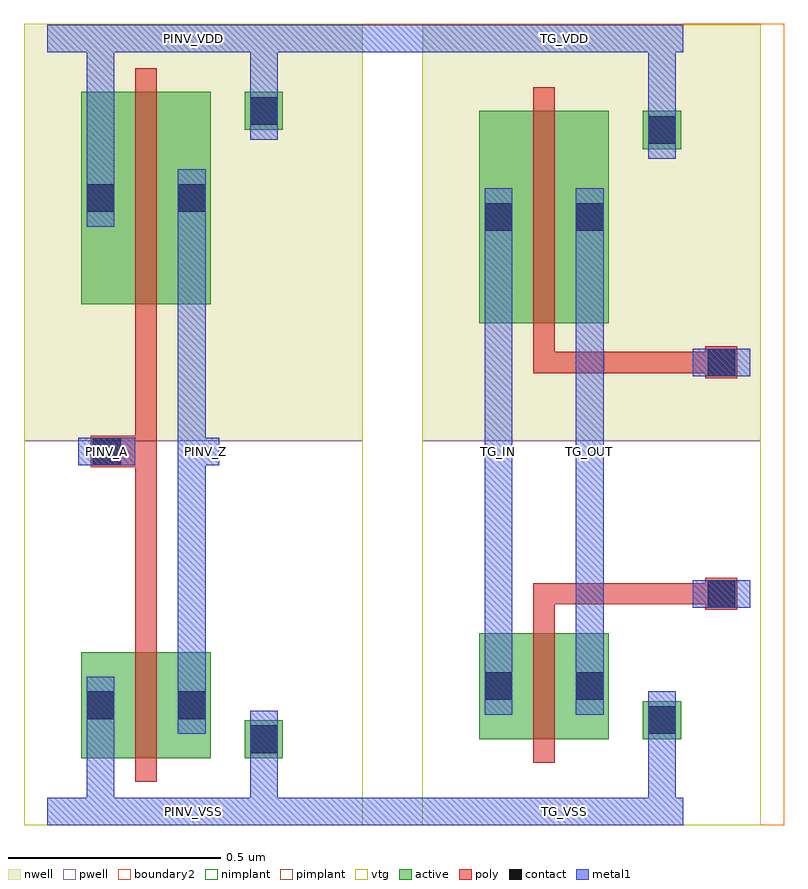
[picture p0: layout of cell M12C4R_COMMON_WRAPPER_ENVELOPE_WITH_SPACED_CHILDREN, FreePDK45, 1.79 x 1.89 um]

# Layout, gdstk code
import gdstk
lib = gdstk.Library(unit=1e-6, precision=5e-10)
def R(c, l, rs):  # rectangles x0, y0, x1, y1
    for r in rs: c.add(gdstk.rectangle(r[:2], r[2:], *l))
active = (1, 0)
pwell = (2, 0)
nwell = (3, 0)
nimplant = (4, 0)
pimplant = (5, 0)
vtg = (6, 0)
poly = (9, 0)
contact = (10, 0)
metal1 = (11, 0)
boundary2 = (239, 0)

transmission_gate_nw250_ = lib.new_cell('TRANSMISSION_GATE_NW250_PW500_L50_contact_8')
R(transmission_gate_nw250_, active, [(0,0.0225,0.09,0.1125)])
R(transmission_gate_nw250_, nwell, [(-0.055,-0.0325,0.145,0.1675)])
R(transmission_gate_nw250_, pimplant, [(0,0.0225,0.09,0.1125)])
R(transmission_gate_nw250_, contact, [(0.0125,0.035,0.0775,0.1)])
R(transmission_gate_nw250_, metal1, [(0.0125,0,0.0775,0.135)])
R(transmission_gate_nw250_, boundary2, [(-0.055,-0.0325,0.145,0.1675)])

pinv_nw250_pw500_l50_pmo = lib.new_cell('PINV_NW250_PW500_L50_pmos_m1_w0_500_sm1_dm1_da_p')
R(pinv_nw250_pw500_l50_pmo, active, [(0,0,0.305,0.5)])
R(pinv_nw250_pw500_l50_pmo, nwell, [(-0.08,-0.08,0.385,0.58)])
R(pinv_nw250_pw500_l50_pmo, pimplant, [(0,0,0.305,0.5)])
R(pinv_nw250_pw500_l50_pmo, vtg, [(-0.08,-0.08,0.385,0.58)])
R(pinv_nw250_pw500_l50_pmo, poly, [(0.1275,-0.055,0.1775,0.555), (0.1275,-0.055,0.1775,0.555)])
R(pinv_nw250_pw500_l50_pmo, metal1, [(0.0125,0.1825,0.0775,0.3175), (0.2275,0.1825,0.2925,0.3175)])
R(pinv_nw250_pw500_l50_pmo, boundary2, [(-0.08,-0.08,0.385,0.58)])
pinv_nw250_pw500_l50_pmo.add(gdstk.Reference(transmission_gate_nw250_, (0,0.1825)))
pinv_nw250_pw500_l50_pmo.add(gdstk.Reference(transmission_gate_nw250_, (0.215,0.1825)))

c_transmission_gate_nw250_ = lib.new_cell('TRANSMISSION_GATE_NW250_PW500_L50_contact_7')
R(c_transmission_gate_nw250_, active, [(0,0.0225,0.09,0.1125)])
R(c_transmission_gate_nw250_, pwell, [(-0.055,-0.0325,0.145,0.1675)])
R(c_transmission_gate_nw250_, nimplant, [(0,0.0225,0.09,0.1125)])
R(c_transmission_gate_nw250_, contact, [(0.0125,0.035,0.0775,0.1)])
R(c_transmission_gate_nw250_, metal1, [(0.0125,0,0.0775,0.135)])
R(c_transmission_gate_nw250_, boundary2, [(-0.055,-0.0325,0.145,0.1675)])

pinv_nw250_pw500_l50_nmo = lib.new_cell('PINV_NW250_PW500_L50_nmos_m1_w0_250_sm1_dm1_da_p')
R(pinv_nw250_pw500_l50_nmo, active, [(0,0,0.305,0.25)])
R(pinv_nw250_pw500_l50_nmo, pwell, [(-0.08,-0.08,0.385,0.33)])
R(pinv_nw250_pw500_l50_nmo, nimplant, [(0,0,0.305,0.25)])
R(pinv_nw250_pw500_l50_nmo, vtg, [(-0.08,-0.08,0.385,0.33)])
R(pinv_nw250_pw500_l50_nmo, poly, [(0.1275,-0.055,0.1775,0.305), (0.1275,-0.055,0.1775,0.305)])
R(pinv_nw250_pw500_l50_nmo, metal1, [(0.0125,0.0575,0.0775,0.1925), (0.2275,0.0575,0.2925,0.1925)])
R(pinv_nw250_pw500_l50_nmo, boundary2, [(-0.08,-0.08,0.385,0.33)])
pinv_nw250_pw500_l50_nmo.add(gdstk.Reference(c_transmission_gate_nw250_, (0,0.0575)))
pinv_nw250_pw500_l50_nmo.add(gdstk.Reference(c_transmission_gate_nw250_, (0.215,0.0575)))

c_transmission_gate_nw250__ = lib.new_cell('TRANSMISSION_GATE_NW250_PW500_L50_contact_9')
R(c_transmission_gate_nw250__, active, [(0,0.0225,0.09,0.1125)])
R(c_transmission_gate_nw250__, nwell, [(-0.055,-0.0325,0.145,0.1675)])
R(c_transmission_gate_nw250__, nimplant, [(0,0.0225,0.09,0.1125)])
R(c_transmission_gate_nw250__, contact, [(0.0125,0.035,0.0775,0.1)])
R(c_transmission_gate_nw250__, metal1, [(0.0125,0,0.0775,0.135)])
R(c_transmission_gate_nw250__, boundary2, [(-0.055,-0.0325,0.145,0.1675)])

c_transmission_gate_nw250___ = lib.new_cell('TRANSMISSION_GATE_NW250_PW500_L50_contact_10')
R(c_transmission_gate_nw250___, active, [(0,0.0225,0.09,0.1125)])
R(c_transmission_gate_nw250___, pwell, [(-0.055,-0.0325,0.145,0.1675)])
R(c_transmission_gate_nw250___, pimplant, [(0,0.0225,0.09,0.1125)])
R(c_transmission_gate_nw250___, contact, [(0.0125,0.035,0.0775,0.1)])
R(c_transmission_gate_nw250___, metal1, [(0.0125,0,0.0775,0.135)])
R(c_transmission_gate_nw250___, boundary2, [(-0.055,-0.0325,0.145,0.1675)])

pinv_nw180_pw270_l50_con = lib.new_cell('PINV_NW180_PW270_L50_contact_11')
R(pinv_nw180_pw270_l50_con, poly, [(0.03,0,0.105,0.075)])
R(pinv_nw180_pw270_l50_con, contact, [(0.035,0.005,0.1,0.07)])
R(pinv_nw180_pw270_l50_con, metal1, [(0,0.005,0.135,0.07)])
R(pinv_nw180_pw270_l50_con, boundary2, [(0,0,0.135,0.075)])

pinv_nw250_pw500_l50_cor = lib.new_cell('PINV_NW250_PW500_L50_core')
R(pinv_nw250_pw500_l50_cor, pwell, [(-0.055,-0.0325,0.7425,0.8725)])
R(pinv_nw250_pw500_l50_cor, nwell, [(-0.055,0.8725,0.7425,1.855)])
R(pinv_nw250_pw500_l50_cor, vtg, [(-0.055,-0.0325,0.7425,0.8725), (-0.055,0.8725,0.7425,1.855)])
R(pinv_nw250_pw500_l50_cor, poly, [(0.2075,0.43,0.2575,1.14), (0.14,0.81,0.2075,0.885)])
R(pinv_nw250_pw500_l50_cor, metal1, [(0,-0.0325,0.6875,0.0325), (0.0925,-0.0325,0.1575,0.1825), (0.4775,0,0.5425,0.17), (0.3075,0.1825,0.3725,1.5125), (0.0725,0.815,0.2075,0.88), (0.34,0.815,0.405,0.88), (0.0925,1.3775,0.1575,1.8525), (0.4775,1.65,0.5425,1.82), (0,1.7875,0.6875,1.8525)])
R(pinv_nw250_pw500_l50_cor, boundary2, [(0,0,0.6875,1.82), (0,0,0.6875,1.82)])
pinv_nw250_pw500_l50_cor.add(gdstk.Reference(pinv_nw250_pw500_l50_pmo, (0.08,1.195)))
pinv_nw250_pw500_l50_cor.add(gdstk.Reference(pinv_nw250_pw500_l50_nmo, (0.08,0.125)))
pinv_nw250_pw500_l50_cor.add(gdstk.Reference(c_transmission_gate_nw250__, (0.465,1.5825)))
pinv_nw250_pw500_l50_cor.add(gdstk.Reference(c_transmission_gate_nw250___, (0.465,0.1025)))
pinv_nw250_pw500_l50_cor.add(gdstk.Reference(pinv_nw180_pw270_l50_con, (0.0725,0.81)))

pinv_nw250_pw500_l50 = lib.new_cell('PINV_NW250_PW500_L50')
R(pinv_nw250_pw500_l50, metal1, [(0,-0.0325,0.6875,0.0325), (0.0725,0.815,0.2075,0.88), (0.34,0.815,0.405,0.88), (0,1.7875,0.6875,1.8525)])
R(pinv_nw250_pw500_l50, boundary2, [(0,0,0.6875,1.82)])
pinv_nw250_pw500_l50.add(gdstk.Reference(pinv_nw250_pw500_l50_cor, (0,0)))
pinv_nw250_pw500_l50.add(gdstk.Label('VDD', (0.3435,1.82), layer=11, texttype=0))
pinv_nw250_pw500_l50.add(gdstk.Label('VSS', (0.3435,0), layer=11, texttype=0))
pinv_nw250_pw500_l50.add(gdstk.Label('A', (0.14,0.8475), layer=11, texttype=0))
pinv_nw250_pw500_l50.add(gdstk.Label('Z', (0.3725,0.8475), layer=11, texttype=0))

c_transmission_gate_nw250____ = lib.new_cell('TRANSMISSION_GATE_NW250_PW500_L50_pmos_m1_w0_500_sm1_dm1')
R(c_transmission_gate_nw250____, active, [(0,0,0.305,0.5)])
R(c_transmission_gate_nw250____, nwell, [(-0.08,-0.08,0.385,0.58)])
R(c_transmission_gate_nw250____, pimplant, [(0,0,0.305,0.5)])
R(c_transmission_gate_nw250____, vtg, [(-0.08,-0.08,0.385,0.58)])
R(c_transmission_gate_nw250____, poly, [(0.1275,-0.055,0.1775,0.555), (0.1275,-0.055,0.1775,0.555)])
R(c_transmission_gate_nw250____, metal1, [(0.0125,0.1825,0.0775,0.3175), (0.2275,0.1825,0.2925,0.3175)])
R(c_transmission_gate_nw250____, boundary2, [(-0.08,-0.08,0.385,0.58)])
c_transmission_gate_nw250____.add(gdstk.Reference(transmission_gate_nw250_, (0,0.1825)))
c_transmission_gate_nw250____.add(gdstk.Reference(transmission_gate_nw250_, (0.215,0.1825)))

c_transmission_gate_nw250_____ = lib.new_cell('TRANSMISSION_GATE_NW250_PW500_L50_nmos_m1_w0_250_sm1_dm1')
R(c_transmission_gate_nw250_____, active, [(0,0,0.305,0.25)])
R(c_transmission_gate_nw250_____, pwell, [(-0.08,-0.08,0.385,0.33)])
R(c_transmission_gate_nw250_____, nimplant, [(0,0,0.305,0.25)])
R(c_transmission_gate_nw250_____, vtg, [(-0.08,-0.08,0.385,0.33)])
R(c_transmission_gate_nw250_____, poly, [(0.1275,-0.055,0.1775,0.305), (0.1275,-0.055,0.1775,0.305)])
R(c_transmission_gate_nw250_____, metal1, [(0.0125,0.0575,0.0775,0.1925), (0.2275,0.0575,0.2925,0.1925)])
R(c_transmission_gate_nw250_____, boundary2, [(-0.08,-0.08,0.385,0.33)])
c_transmission_gate_nw250_____.add(gdstk.Reference(c_transmission_gate_nw250_, (0,0.0575)))
c_transmission_gate_nw250_____.add(gdstk.Reference(c_transmission_gate_nw250_, (0.215,0.0575)))

c_transmission_gate_nw250______ = lib.new_cell('TRANSMISSION_GATE_NW250_PW500_L50_contact_11')
R(c_transmission_gate_nw250______, poly, [(0.03,0,0.105,0.075)])
R(c_transmission_gate_nw250______, contact, [(0.035,0.005,0.1,0.07)])
R(c_transmission_gate_nw250______, metal1, [(0,0.005,0.135,0.07)])
R(c_transmission_gate_nw250______, boundary2, [(0,0,0.135,0.075)])

c_transmission_gate_nw250_______ = lib.new_cell('TRANSMISSION_GATE_NW250_PW500_L50_core')
R(c_transmission_gate_nw250_______, pwell, [(-0.055,-0.0325,0.7425,0.8725)])
R(c_transmission_gate_nw250_______, nwell, [(-0.055,0.8725,0.7425,1.8525)])
R(c_transmission_gate_nw250_______, vtg, [(-0.055,-0.0325,0.7425,0.8725), (-0.055,0.8725,0.7425,1.8525)])
R(c_transmission_gate_nw250_______, poly, [(0.2075,0.295,0.2575,0.5125), (0.2075,0.4875,0.2575,0.5375), (0.2325,0.4875,0.65,0.5375), (0.2075,1.0325,0.2575,1.0825), (0.2325,1.0325,0.65,1.0825), (0.2075,1.0575,0.2575,1.4)])
R(c_transmission_gate_nw250_______, metal1, [(0,-0.0325,0.56,0.0325), (0.4775,0,0.5425,0.215), (0.0925,0.2275,0.1575,1.4675), (0.3075,0.2275,0.3725,1.4675), (0.5825,0.48,0.7175,0.545), (0.5825,1.025,0.7175,1.09), (0.4775,1.605,0.5425,1.82), (0,1.7875,0.56,1.8525)])
R(c_transmission_gate_nw250_______, boundary2, [(0,0,0.6875,1.82), (0,0,0.6875,1.82)])
c_transmission_gate_nw250_______.add(gdstk.Reference(c_transmission_gate_nw250____, (0.08,1.15)))
c_transmission_gate_nw250_______.add(gdstk.Reference(c_transmission_gate_nw250_____, (0.08,0.17)))
c_transmission_gate_nw250_______.add(gdstk.Reference(c_transmission_gate_nw250__, (0.465,1.5375)))
c_transmission_gate_nw250_______.add(gdstk.Reference(c_transmission_gate_nw250___, (0.465,0.1475)))
c_transmission_gate_nw250_______.add(gdstk.Reference(c_transmission_gate_nw250______, (0.5825,1.02)))
c_transmission_gate_nw250_______.add(gdstk.Reference(c_transmission_gate_nw250______, (0.5825,0.475)))

c_transmission_gate_nw250________ = lib.new_cell('TRANSMISSION_GATE_NW250_PW500_L50')
R(c_transmission_gate_nw250________, metal1, [(0,-0.0325,0.56,0.0325), (0.0925,0.2275,0.1575,1.4675), (0.3075,0.2275,0.3725,1.4675), (0.5825,0.48,0.7175,0.545), (0.5825,1.025,0.7175,1.09), (0,1.7875,0.56,1.8525)])
R(c_transmission_gate_nw250________, boundary2, [(0,0,0.6875,1.82)])
c_transmission_gate_nw250________.add(gdstk.Reference(c_transmission_gate_nw250_______, (0,0)))
c_transmission_gate_nw250________.add(gdstk.Label('VDD', (0.28,1.82), layer=11, texttype=0))
c_transmission_gate_nw250________.add(gdstk.Label('VSS', (0.28,0), layer=11, texttype=0))
c_transmission_gate_nw250________.add(gdstk.Label('IN', (0.125,0.8475), layer=11, texttype=0))
c_transmission_gate_nw250________.add(gdstk.Label('OUT', (0.34,0.8475), layer=11, texttype=0))
c_transmission_gate_nw250________.add(gdstk.Label('CTR_P', (0.65,1.0575), layer=11, texttype=0))
c_transmission_gate_nw250________.add(gdstk.Label('CTR_N', (0.65,0.5125), layer=11, texttype=0))

m12c4r_common_wrapper_en = lib.new_cell('M12C4R_COMMON_WRAPPER_ENVELOPE_WITH_SPACED_CHILDREN')
R(m12c4r_common_wrapper_en, metal1, [(0.7425,0,0.9925,0.065), (0.7425,1.82,0.9925,1.885)])
R(m12c4r_common_wrapper_en, boundary2, [(0,0,1.79,1.8875)])
m12c4r_common_wrapper_en.add(gdstk.Reference(pinv_nw250_pw500_l50, (0.055,0.0325)))
m12c4r_common_wrapper_en.add(gdstk.Reference(c_transmission_gate_nw250________, (0.9925,0.0325)))
m12c4r_common_wrapper_en.add(gdstk.Label('PINV_VDD', (0.3985,1.8525), layer=11, texttype=0))
m12c4r_common_wrapper_en.add(gdstk.Label('PINV_VSS', (0.3985,0.0325), layer=11, texttype=0))
m12c4r_common_wrapper_en.add(gdstk.Label('PINV_A', (0.195,0.88), layer=11, texttype=0))
m12c4r_common_wrapper_en.add(gdstk.Label('PINV_Z', (0.4275,0.88), layer=11, texttype=0))
m12c4r_common_wrapper_en.add(gdstk.Label('TG_VDD', (1.2725,1.8525), layer=11, texttype=0))
m12c4r_common_wrapper_en.add(gdstk.Label('TG_VSS', (1.2725,0.0325), layer=11, texttype=0))
m12c4r_common_wrapper_en.add(gdstk.Label('TG_IN', (1.1175,0.88), layer=11, texttype=0))
m12c4r_common_wrapper_en.add(gdstk.Label('TG_OUT', (1.3325,0.88), layer=11, texttype=0))

lib.write_gds('M12C4R_COMMON_WRAPPER_ENVELOPE_WITH_SPACED_CHILDREN.gds')
